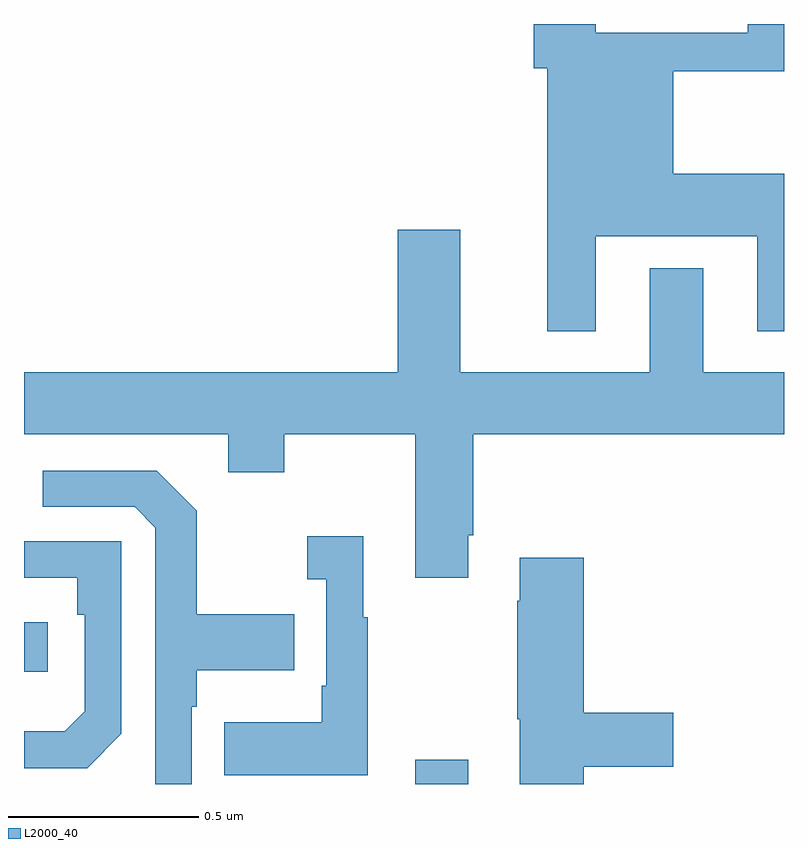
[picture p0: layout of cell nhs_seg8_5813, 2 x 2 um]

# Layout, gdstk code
import gdstk
lib = gdstk.Library(unit=1e-6, precision=1e-09)
def R(c, l, rs):  # rectangles x0, y0, x1, y1
    for r in rs: c.add(gdstk.rectangle(r[:2], r[2:], *l))
def P(c, l, *ps):  # polygons
    for p in ps: c.add(gdstk.Polygon(p, *l))
L2000_40 = (2000, 40)

nhs_seg8_5813 = lib.new_cell('nhs_seg8_5813')
R(nhs_seg8_5813, L2000_40, [(189.029,1128.9,189.169,1128.964), (188,1129.196,188.062,1129.326)])
P(nhs_seg8_5813, L2000_40, [(189.505,1130.342),(189.929,1130.342),(189.929,1130.091),(190,1130.091),(190,1130.506),(189.709,1130.506),(189.709,1130.776),(190,1130.776),(190,1130.9),(189.905,1130.9),(189.905,1130.877),(189.505,1130.877),(189.505,1130.9),(189.341,1130.9),(189.341,1130.784),(189.377,1130.784),(189.377,1130.091),(189.505,1130.091)],
  [(189.148,1130.359),(188.984,1130.359),(188.984,1129.984),(188,1129.984),(188,1129.82),(188.537,1129.82),(188.537,1129.721),(188.685,1129.721),(188.685,1129.82),(189.029,1129.82),(189.029,1129.443),(189.169,1129.443),(189.169,1129.555),(189.182,1129.555),(189.182,1129.82),(190,1129.82),(190,1129.984),(189.787,1129.984),(189.787,1130.257),(189.647,1130.257),(189.647,1129.984),(189.148,1129.984)],
  [(188.442,1129.103),(188.455,1129.103),(188.455,1129.199),(188.711,1129.199),(188.711,1129.347),(188.455,1129.347),(188.455,1129.619),(188.349,1129.725),(188.049,1129.725),(188.049,1129.629),(188.292,1129.629),(188.346,1129.575),(188.346,1128.9),(188.442,1128.9)],
  [(188.905,1129.339),(188.893,1129.339),(188.893,1129.552),(188.745,1129.552),(188.745,1129.439),(188.796,1129.439),(188.796,1129.159),(188.784,1129.159),(188.784,1129.063),(188.527,1129.063),(188.527,1128.923),(188.905,1128.923)],
  [(188.256,1129.032),(188.256,1129.539),(188,1129.539),(188,1129.443),(188.14,1129.443),(188.14,1129.346),(188.16,1129.346),(188.16,1129.092),(188.107,1129.039),(188,1129.039),(188,1128.942),(188.166,1128.942)],
  [(189.473,1128.946),(189.709,1128.946),(189.709,1129.088),(189.473,1129.088),(189.473,1129.495),(189.305,1129.495),(189.305,1129.382),(189.298,1129.382),(189.298,1129.071),(189.305,1129.071),(189.305,1128.9),(189.473,1128.9)])

lib.write_gds('nhs_seg8_5813.gds')
